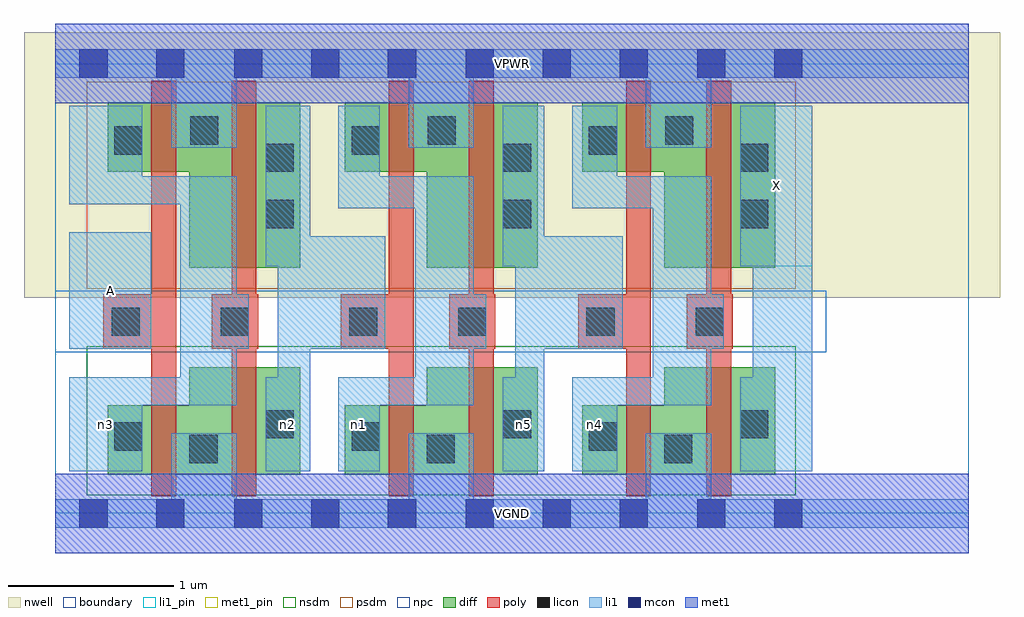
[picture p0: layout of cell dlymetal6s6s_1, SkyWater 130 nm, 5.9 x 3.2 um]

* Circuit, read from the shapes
.subckt dlymetal6s6s_1 A VGND VPWR X n1 n2 n3 n4 n5
XM1 VGND A n3 VSUBS sky130_fd_pr__nfet_01v8 w=0.42 l=0.15
XM2 n2 n3 VGND VSUBS sky130_fd_pr__nfet_01v8 w=0.65 l=0.15
XM3 VGND n2 n1 VSUBS sky130_fd_pr__nfet_01v8 w=0.42 l=0.15
XM4 n5 n1 VGND VSUBS sky130_fd_pr__nfet_01v8 w=0.65 l=0.15
XM5 VGND n5 n4 VSUBS sky130_fd_pr__nfet_01v8 w=0.42 l=0.15
XM6 X n4 VGND VSUBS sky130_fd_pr__nfet_01v8 w=0.65 l=0.15
XM7 VPWR A n3 n6 sky130_fd_pr__pfet_01v8 w=0.42 l=0.15
XM8 n2 n3 VPWR n6 sky130_fd_pr__pfet_01v8 w=1 l=0.15
XM9 VPWR n2 n1 n6 sky130_fd_pr__pfet_01v8 w=0.42 l=0.15
XM10 n5 n1 VPWR n6 sky130_fd_pr__pfet_01v8 w=1 l=0.15
XM11 VPWR n5 n4 n6 sky130_fd_pr__pfet_01v8 w=0.42 l=0.15
XM12 X n4 VPWR n6 sky130_fd_pr__pfet_01v8 w=1 l=0.15
.ends

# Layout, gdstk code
import gdstk
lib = gdstk.Library(unit=1e-6, precision=1e-09)
def R(c, l, rs):  # rectangles x0, y0, x1, y1
    for r in rs: c.add(gdstk.rectangle(r[:2], r[2:], *l))
def A(c, l, x, y, w, h, nx, ny, dx, dy):  # array of equal rectangles
    R(c, l, [(x+i*dx, y+j*dy, x+i*dx+w, y+j*dy+h) for i in range(nx) for j in range(ny)])
nwell = (64, 20)
diff = (65, 20)
poly = (66, 20)
licon = (66, 44)
li1_pin = (67, 16)
li1 = (67, 20)
mcon = (67, 44)
met1_pin = (68, 16)
met1 = (68, 20)
nsdm = (93, 44)
psdm = (94, 20)
npc = (95, 20)
boundary = (235, 4)

dlymetal6s6s_1 = lib.new_cell('dlymetal6s6s_1')
R(dlymetal6s6s_1, nwell, [(-0.19,1.305,5.71,2.91), (0,1.305,5.52,2.91)])
A(dlymetal6s6s_1, diff, 0.315, 0.235, 1.165, 0.42, 3, 2, 1.435, 1.83)
A(dlymetal6s6s_1, diff, 0.81, 0.235, 0.67, 0.65, 3, 1, 1.435, 0)
A(dlymetal6s6s_1, diff, 0.81, 1.485, 0.67, 1, 3, 1, 1.435, 0)
A(dlymetal6s6s_1, poly, 0.29, 0.995, 0.44, 0.33, 3, 1, 1.435, 0)
A(dlymetal6s6s_1, poly, 0.945, 0.995, 0.28, 0.33, 3, 1, 1.435, 0)
R(dlymetal6s6s_1, poly, [(0.58,0.105,0.73,2.615), (1.065,0.105,1.215,2.615), (2.015,0.105,2.165,2.615), (2.5,0.105,2.65,2.615), (3.45,0.105,3.6,2.615), (3.935,0.105,4.085,2.615)])
A(dlymetal6s6s_1, licon, 0.81, 0.305, 0.17, 0.17, 3, 1, 1.435, 0)
A(dlymetal6s6s_1, licon, 0.355, 0.38, 0.17, 0.17, 3, 2, 1.435, 1.79)
A(dlymetal6s6s_1, licon, 1.27, 0.455, 0.17, 0.17, 3, 2, 1.435, 1.27)
A(dlymetal6s6s_1, licon, 1.27, 2.065, 0.17, 0.17, 3, 1, 1.435, 0)
A(dlymetal6s6s_1, licon, 0.815, 2.23, 0.17, 0.17, 3, 1, 1.435, 0)
R(dlymetal6s6s_1, licon, [(0.34,1.075,0.51,1.245), (1,1.075,1.17,1.245), (1.775,1.075,1.945,1.245), (2.435,1.075,2.605,1.245), (3.21,1.075,3.38,1.245), (3.87,1.075,4.04,1.245)])
R(dlymetal6s6s_1, li1_pin, [(0.085,0.995,0.58,1.7), (4.14,1.495,4.575,2.465)])
A(dlymetal6s6s_1, li1, 0.7, -0.085, 0.395, 0.57, 3, 1, 1.435, 0)
A(dlymetal6s6s_1, li1, 0.7, 2.21, 0.395, 0.595, 3, 1, 1.435, 0)
R(dlymetal6s6s_1, li1, [(0,-0.085,5.52,0.085), (0.085,0.255,0.525,0.825), (1.27,0.255,1.54,0.825), (1.345,0.255,1.54,2.465), (1.71,0.255,1.96,0.825), (2.705,0.255,2.955,0.825), (2.78,0.255,2.955,2.465), (3.125,0.255,3.395,0.825), (4.14,0.255,4.575,0.825), (4.215,0.255,4.575,2.465), (0.085,0.655,1.095,0.825), (0.755,0.655,1.095,2.04), (1.71,0.655,2.53,0.825), (2.175,0.655,2.53,2.04), (3.125,0.655,3.965,0.825), (3.61,0.655,3.965,2.04), (0.085,0.995,0.58,1.7), (0.755,0.995,1.17,1.325), (1.345,0.995,1.995,1.675), (2.175,0.995,2.605,1.325), (2.78,0.995,3.43,1.675), (3.61,0.995,4.04,1.325), (1.27,1.495,1.54,2.465), (2.705,1.495,2.955,2.465), (4.14,1.495,4.575,2.465), (1.71,1.845,1.96,2.465), (1.71,1.845,2.53,2.04), (3.125,1.845,3.395,2.465), (3.125,1.845,3.965,2.04), (0.085,1.87,1.095,2.04), (0.085,1.87,0.525,2.465), (0,2.635,5.52,2.805)])
A(dlymetal6s6s_1, mcon, 1.08, -0.085, 0.17, 0.17, 3, 2, 0.465, 2.72)
A(dlymetal6s6s_1, mcon, 2.48, -0.085, 0.17, 0.17, 3, 2, 0.465, 2.72)
R(dlymetal6s6s_1, mcon, [(0.145,-0.085,0.315,0.085), (0.61,-0.085,0.78,0.085), (3.88,-0.085,4.05,0.085), (4.345,-0.085,4.515,0.085), (0.145,2.635,0.315,2.805), (0.61,2.635,0.78,2.805), (3.88,2.635,4.05,2.805), (4.345,2.635,4.515,2.805)])
R(dlymetal6s6s_1, met1_pin, [(0,-0.24,5.52,0.24), (0,2.48,5.52,2.96)])
R(dlymetal6s6s_1, met1, [(0,-0.24,5.52,0.24), (0,2.48,5.52,2.96)])
R(dlymetal6s6s_1, nsdm, [(0.19,0.11,4.475,1.01)])
R(dlymetal6s6s_1, psdm, [(0.19,1.36,4.475,2.61)])
R(dlymetal6s6s_1, npc, [(0,0.975,4.66,1.345)])
R(dlymetal6s6s_1, boundary, [(0,0,5.52,2.72)])
dlymetal6s6s_1.add(gdstk.Label('A', (0.332,1.347), layer=67, texttype=5))
dlymetal6s6s_1.add(gdstk.Label('X', (4.357,1.98), layer=67, texttype=5))
dlymetal6s6s_1.add(gdstk.Label('n3', (0.305,0.54), layer=67, texttype=5))
dlymetal6s6s_1.add(gdstk.Label('n2', (1.405,0.54), layer=67, texttype=5))
dlymetal6s6s_1.add(gdstk.Label('n1', (1.835,0.54), layer=67, texttype=5))
dlymetal6s6s_1.add(gdstk.Label('n5', (2.83,0.54), layer=67, texttype=5))
dlymetal6s6s_1.add(gdstk.Label('n4', (3.26,0.54), layer=67, texttype=5))
dlymetal6s6s_1.add(gdstk.Label('VPWR', (2.76,2.72), layer=68, texttype=5))
dlymetal6s6s_1.add(gdstk.Label('VGND', (2.76,0), layer=68, texttype=5))
dlymetal6s6s_1.add(gdstk.Label('A', (0.332,1.347), layer=67, texttype=16))
dlymetal6s6s_1.add(gdstk.Label('X', (4.357,1.98), layer=67, texttype=16))
dlymetal6s6s_1.add(gdstk.Label('VPWR', (2.76,2.72), layer=68, texttype=16))
dlymetal6s6s_1.add(gdstk.Label('VGND', (2.76,0), layer=68, texttype=16))

lib.write_gds('dlymetal6s6s_1.gds')
